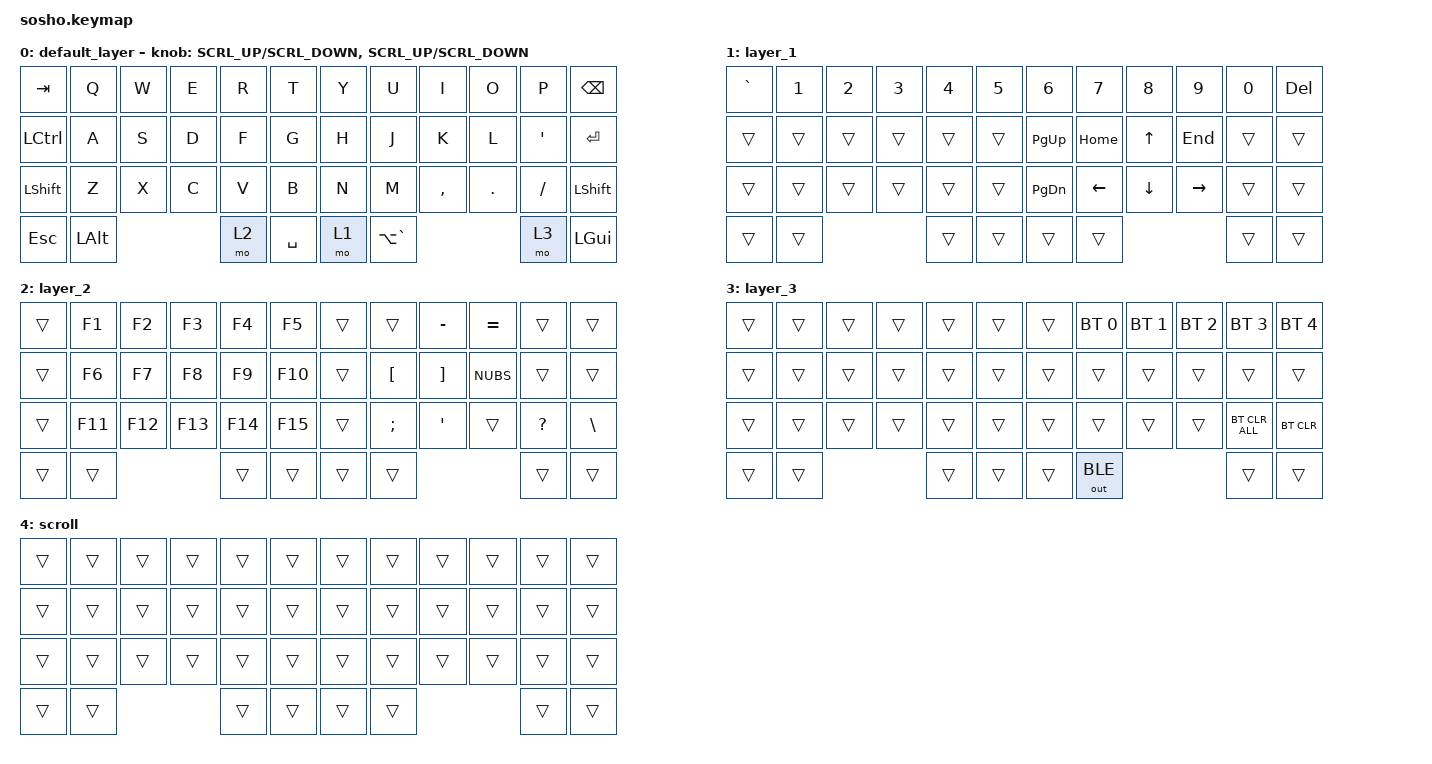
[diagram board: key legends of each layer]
//スクロール量の調整(デフォルト150)
#define ZMK_POINTING_DEFAULT_SCRL_VAL 150

#include <behaviors.dtsi>
#include <dt-bindings/zmk/bt.h>
#include <dt-bindings/zmk/keys.h>
#include <dt-bindings/zmk/pointing.h>
#include <dt-bindings/zmk/outputs.h>

/ {
    behaviors {
        //エンコーダにスクロールを割り当てるためのビヘイビア
        msc_ec_l: sensor_rotation_scroll_L {
            compatible = "zmk,behavior-sensor-rotate-var";
            #sensor-binding-cells = <2>;
            bindings = <&msc>, <&msc>;
            tap-ms = <20>;
        };
        msc_ec_r: sensor_rotation_scroll_R {
            compatible = "zmk,behavior-sensor-rotate-var";
            #sensor-binding-cells = <2>;
            bindings = <&msc>, <&msc>;
            tap-ms = <20>;
        };
    };
};

//スクロールの調整
&msc {
    time-to-max-speed-ms = <0>;   // 即座に最大速度（加速なし）
    acceleration-exponent = <0>;   // 加速なし
};

/ {
    combos {
        compatible = "zmk,combos";
        // prioritize-longer-keys; // ZMKの標準機能にはない記述のため、エラー防止でコメントアウトしています

        //左クリックのコンボ 19 J 20 K
        combo_LCLK_1 {
            timeout-ms = <50>;
            key-positions = <19 20>;
            bindings = <&mkp LCLK>;
        };

        //左クリックのコンボ 15 D 16 F
        combo_LCLK_2 {
            timeout-ms = <50>;
            key-positions = <15 16>;
            bindings = <&mkp LCLK>;
        };

        //右クリックのコンボ 20 K 21 L
        combo_RCLK_1 {
            timeout-ms = <50>;
            key-positions = <20 21>;
            bindings = <&mkp RCLK>;
        };

        //右クリックのコンボ 14 S 15 F
        combo_RCLK_2 {
            timeout-ms = <50>;
            key-positions = <14 15>;
            bindings = <&mkp RCLK>;
        };

        //ホイールクリックのコンボ 19 J 21 L
        combo_MCLK_1 {
            timeout-ms = <90>;
            key-positions = <19 21>;
            bindings = <&mkp MCLK>;
        };

        //ホイールクリックのコンボ 14 S 16 F
        combo_MCLK_2 {
            timeout-ms = <90>;
            key-positions = <14 16>;
            bindings = <&mkp MCLK>;
        };
        
        // 3番と4番のキー同時押しで「Y」を入力するコンボ
        combo_Y {
            timeout-ms = <90>;
            key-positions = <3 4>;
            bindings = <&kp Y>;
        };

        // 27番と28番のキー同時押しで「U」を入力するコンボ
        combo_U {
            timeout-ms = <90>;
            key-positions = <27 28>;
            bindings = <&kp U>;
        };

        // 2番と4番のキー同時押しで「I」を入力するコンボ
        combo_I {
            timeout-ms = <90>;
            key-positions = <2 4>;
            bindings = <&kp I>;
        };

        // 26番と28番のキー同時押しで「O」を入力するコンボ
        combo_O {
            timeout-ms = <90>;
            key-positions = <26 28>;
            bindings = <&kp O>;
        };

        //作ったけど消した。ポインティングデバイスをスクロールにしたい人向け
        //31 M 32 ,
        combo_SCROLL {
            timeout-ms = <50>;
            key-positions = <31 32>;
            bindings = <&mo 4>;
        };
    };
};

/ {
    keymap {
        compatible = "zmk,keymap";

        default_layer {
            bindings = <
                &kp TAB    &kp Q   &kp W  &kp E  &kp R  &kp T      &kp Y  &kp U  &kp I      &kp O    &kp P     &kp BSPC
                &kp LCTRL  &kp A   &kp S  &kp D  &kp F  &kp G      &kp H  &kp J  &kp K      &kp L    &kp SQT   &kp ENTER
                &kp LSHFT  &kp Z   &kp X  &kp C  &kp V  &kp B      &kp N  &kp M  &kp COMMA  &kp DOT  &kp SLASH &kp LSHFT
                &kp ESC    &kp LALT              &mo 2  &kp SPACE  &mo 1  &kp LA(GRAVE)              &mo 3     &kp LGUI
            >;
            //&msc_ec_lとrは、上のビヘイビアで作ったもの。
            sensor-bindings = <&msc_ec_l SCRL_UP SCRL_DOWN &msc_ec_r SCRL_UP SCRL_DOWN>;
        };
    
        layer_1 {
            bindings = <
                &kp GRAVE &kp N1  &kp N2  &kp N3  &kp N4  &kp N5       &kp N6    &kp N7    &kp N8   &kp N9    &kp N0 &kp DEL
                &trans    &trans &trans &trans &trans &trans           &kp PG_UP &kp HOME  &kp UP   &kp END   &trans &trans
                &trans    &trans &trans &trans &trans &trans           &kp PG_DN &kp LEFT  &kp DOWN &kp RIGHT &trans &trans
                &trans    &trans               &trans &trans           &trans    &trans                       &trans &trans
            >;
        };

        layer_2 {
            bindings = <
                &trans &kp F1  &kp F2  &kp F3  &kp F4  &kp F5     &trans  &trans    &kp MINUS &kp EQUAL &trans     &trans
                &trans &kp F6  &kp F7  &kp F8  &kp F9  &kp F10    &trans  &kp LBKT  &kp RBKT  &kp NUBS  &trans     &trans
                &trans &kp F11 &kp F12 &kp F13 &kp F14 &kp F15    &trans  &kp SEMI  &kp SQT   &trans    &kp QMARK  &kp BSLH
                &trans &trans                  &trans  &trans     &trans  &trans                        &trans     &trans
            >;
        };

        layer_3 {
            bindings = <
                &trans &trans &trans &trans &trans &trans      &trans  &bt BT_SEL 0  &bt BT_SEL 1  &bt BT_SEL 2  &bt BT_SEL 3   &bt BT_SEL 4
                &trans &trans &trans &trans &trans &trans      &trans  &trans        &trans        &trans        &trans         &trans
                &trans &trans &trans &trans &trans &trans      &trans  &trans        &trans        &trans        &bt BT_CLR_ALL &bt BT_CLR
                &trans &trans               &trans &trans      &trans  &out OUT_BLE                              &trans         &trans
            >;
        };
        // 修正箇所①：reservedを消して、すべて&trans（元のキーをそのまま通す）にする
        scroll {
            bindings = <
                &trans &trans &trans &trans &trans &trans      &trans &trans &trans &trans &trans &trans
                &trans &trans &trans &trans &trans &trans      &trans &trans &trans &trans &trans &trans
                &trans &trans &trans &trans &trans &trans      &trans &trans &trans &trans &trans &trans
                &trans &trans               &trans &trans      &trans &trans               &trans &trans
            >;
        };

        extra2 {
            status = "reserved";
        };
    };
};
